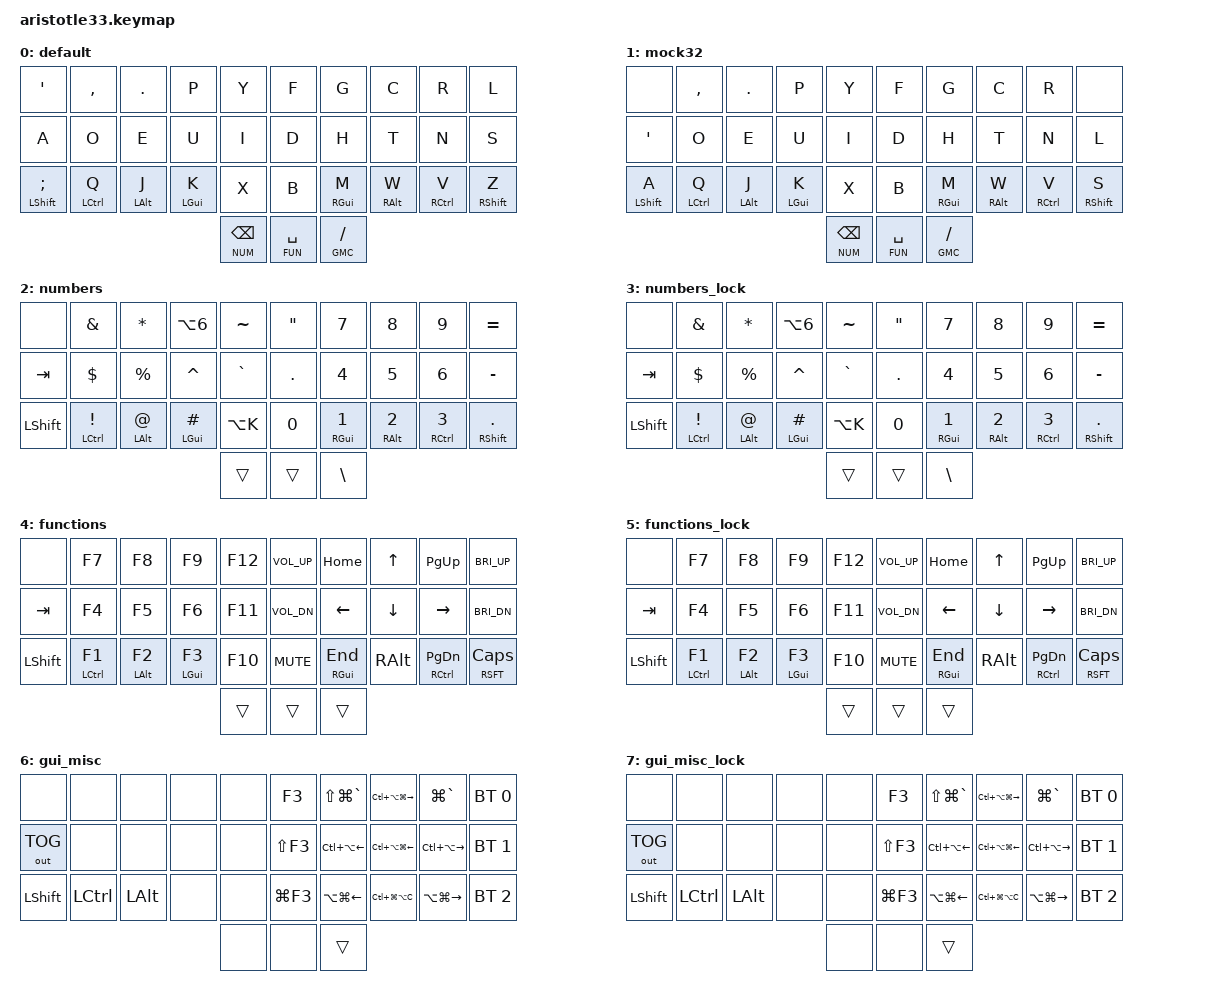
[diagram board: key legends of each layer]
// ================ COPYRIGHT AND INCLUDES ================== {{{1
// Copyright (c) 2021 Bennett Helm
// SPDX-License-Identifier: MIT

#include <behaviors.dtsi>
#include <dt-bindings/zmk/keys.h>
#include <dt-bindings/zmk/bt.h>
#include <dt-bindings/zmk/outputs.h>

// }}}
// ====================== SHORTHANDS ======================== {{{1
// These are shorthand references to keep things simple and tidy in the keymap
// below.

// Layer Names: Default, Numbers, Functions, GUI/Misc
#define DEF 0
#define M32 1
#define NUM 2
#define NLK 3
#define FUN 4
#define FLK 5
#define GMC 6
#define GLK 7

// WINxxxx defines are for shortcuts with Rectangle.app to manipulate windows
#define WIN_LFT &kp LA(LG(LEFT))
#define WIN_RGT &kp LA(LG(RIGHT))
#define WIN_BIG &kp LC(LA(LG(RIGHT)))
#define WIN_SML &kp LC(LA(LG(LEFT)))
#define WIN_NXT &kp LG(GRAVE)
#define WIN_PRV &kp LS(LG(GRAVE))
#define WIN3LFT &kp LC(LA(LEFT))
#define WIN3RGT &kp LC(LA(RIGHT))
#define WIN_CNT &kp LC(LG(LA(C)))

// Bottom Row Mods
// Dvorak
#define LSFT_SC     &mf LEFT_SHIFT SEMICOLON
#define LCTL_Q      &ms LEFT_CONTROL Q
#define LALT_J      &ms LEFT_ALT J
#define LGUI_K      &ms LEFT_GUI K
#define RGUI_M      &ms RIGHT_GUI M
#define RALT_W      &ms RIGHT_ALT W
#define RCTL_V      &ms RIGHT_CONTROL V
#define RSFT_Z      &mf RIGHT_SHIFT Z
// For Mock-32 layer
#define LSFT_A      &mf LEFT_SHIFT A
#define RSFT_S      &mf RIGHT_SHIFT S
// Number
// #define LSFT_TAB    &ms LEFT_SHIFT TAB
#define LCTL_EXCL   &ms LEFT_CONTROL EXCLAMATION
#define LALT_AT     &ms LEFT_ALT AT_SIGN
#define LGUI_HASH   &ms LEFT_GUI HASH
#define RGUI_N1     &ms RIGHT_GUI N1
#define RALT_N2     &ms RIGHT_ALT N2
#define RCTL_N3     &ms RIGHT_CONTROL N3
#define RSFT_DOT    &mf RIGHT_SHIFT DOT
// Function
#define LCTRL_F1    &ms LCTRL F1
#define LALT_F2     &ms LALT F2
#define LGUI_F3     &ms LGUI F3
#define RGUI_END    &ms RGUI END
// #define RALT_DWN    &ms RALT DOWN
#define RCTL_PDN    &ms RCTRL PG_DN
#define RSFT_CAPS   &mf RSFT CAPS

// Other
#define BTLDR &bootloader

// }}}
// ==================== OTHER SETTINGS ====================== {{{1
/* // Set options for mod-tap behavior */
&mt {
    tapping-term-ms = <170>;
    quick-tap-ms = <170>;
    flavor = "tap-preferred";
};
// Set options for layer-tap behavior
&lt {
    tapping-term-ms = <220>; // was 200 -- too fast (without tap-preferred)
    // 200: getting some <spaces> *after* subsequently hit keys.
    // 150 was too quick: failed to get <spaces> when desired
    // 175: getting some missed taps, as well as some arrow keys instead of space-char
    // 250 was pretty wonky: getting too many taps when trying to hold
    /* quick-tap-ms = <200>; */
    flavor = "tap-preferred";
};
// }}}

/ {
// ======================= BEHAVIORS ======================== {{{1
    behaviors {
        mf: modtap_fast {
            compatible = "zmk,behavior-hold-tap";
            label = "MODTAP_FAST";
            #binding-cells = <2>;
            tapping-term-ms = <170>;  // 160 is too fast
            // 180 might be too slow
            // quick-tap-ms = <250>;
            flavor = "tap-preferred";
            // retro-tap;
            bindings = <&kp>, <&kp>;
        };
        ms: modtap_slow {
            compatible = "zmk,behavior-hold-tap";
            label = "MODTAP_SLOW";
            #binding-cells = <2>;
            tapping-term-ms = <215>;  // 210 is too fast
            // 225 seems pretty good, though I want to push it down somewhat
            // quick-tap-ms = <225>;
            flavor = "tap-preferred";
            // retro-tap;
            bindings = <&kp>, <&kp>;
        };
        /* lht: left_positional_hold_tap {  // hold left hand key, only apply mod to keys on right */
        /*     compatible = "zmk,behavior-hold-tap"; */
        /*     label = "LEFT_POSITIONAL_HOLD_TAP"; */
        /*     #binding-cells = <2>; */
        /*     flavor = "hold-preferred"; */
        /*     tapping-term-ms = <400>; */
        /*     quick-tap-ms = <200>; */
        /*     bindings = <&kp>, <&kp>; */
        /*     hold-trigger-key-positions = <5>, <6>, <7>, <8>, <9>, <15>, <16>, <17>, <18>, <19>, <25>, <26>, <27>, <28>, <29>, <31>, <32>; */
        /* }; */
        /* rht: right_positional_hold_tap {  // hold right hand key, only apply mod to keys on left */
        /*     compatible = "zmk,behavior-hold-tap"; */
        /*     label = "RIGHT_POSITIONAL_HOLD_TAP"; */
        /*     #binding-cells = <2>; */
        /*     flavor = "hold-preferred"; */
        /*     tapping-term-ms = <400>; */
        /*     quick-tap-ms = <200>; */
        /*     bindings = <&kp>, <&kp>; */
        /*     hold-trigger-key-positions = <0>, <1>, <2>, <3>, <4>, <10>, <11>, <12>, <13>, <14>, <20>, <21>, <22>, <23>, <24>, <30>; */
        /* }; */
    };
// }}}

// ========================= COMBOS ========================= {{{1
    combos {
        compatible = "zmk,combos";
        combo_lbrace {
            timeout-ms = <40>;
            key-positions = <1 11>;
            bindings = <&kp LEFT_BRACE>;
            layers = <DEF M32 NUM NLK>;
        };
        combo_esc {
            timeout-ms = <40>;
            key-positions = <2 12>;
            bindings = <&kp ESC>;
            layers = <DEF M32 NUM NLK FUN FLK>;
        };
        combo_asterisk {
            timeout-ms = <40>;
            key-positions = <3 13>;
            bindings = <&kp ASTRK>;
            layers = <DEF M32 NUM NLK>;
        };
        combo_doublequote {
            timeout-ms = <40>;
            key-positions = <6 16>;
            bindings = <&kp DQT>;
            layers = <DEF M32 NUM NLK>;
        };
        combo_return {
            timeout-ms = <40>;
            key-positions = <7 17>;
            bindings = <&kp ENTER>;
            layers = <DEF M32 NUM NLK FUN FLK GMC GLK>;
        };
        combo_rbrace {
            timeout-ms = <40>;
            key-positions = <8 18>;
            bindings = <&kp RIGHT_BRACE>;
            layers = <DEF M32 NUM NLK>;
        };
        combo_lbracket {
            timeout-ms = <40>;
            key-positions = <11 21>;
            bindings = <&kp LEFT_BRACKET>;
            layers = <DEF M32 NUM NLK>;
        };
        combo_tab {
            timeout-ms = <40>;
            key-positions = <12 22>;
            bindings = <&kp TAB>;
            layers = <DEF M32 NUM NLK>;
        };
        combo_lparen {
            timeout-ms = <40>;
            key-positions = <13 23>;
            bindings = <&kp LPAR>;
            layers = <DEF M32 NUM NLK>;
        };
        combo_rparen {
            timeout-ms = <40>;
            key-positions = <16 26>;
            bindings = <&kp RPAR>;
            layers = <DEF M32 NUM NLK>;
        };
        combo_colon {
            timeout-ms = <40>;
            key-positions = <17 27>;
            bindings = <&kp COLON>;
            layers = <DEF M32 NUM NLK>;
        };
        combo_rbracket {
            timeout-ms = <40>;
            key-positions = <18 28>;
            bindings = <&kp RIGHT_BRACKET>;
            layers = <DEF M32 NUM NLK>;
        };
        combo_minus {
            timeout-ms = <40>;
            key-positions = <19 29>;
            bindings = <&kp MINUS>;
            layers = <DEF NUM NLK>;
        };
        combo_capslock {
            timeout-ms = <50>;
            key-positions = <20 29>;
            bindings = <&kp CAPS>;
            layers = <DEF M32 NUM NLK FUN FLK>;
        };
        combo_zero {
            timeout-ms = <50>;
            key-positions = <26 27>;
            bindings = <&kp N0>;
            layers = <NUM NLK>;
        };
        combo_period {
            timeout-ms = <50>;
            key-positions = <27 28>;
            bindings = <&kp DOT>;
            layers = <NUM NLK>;
        };
        combo_NUMLock {
            timeout-ms = <30>;
            key-positions = <10 20>;
            bindings = <&tog NLK>;
            layers = <NUM NLK>;
        };
        combo_FUNLock {
            timeout-ms = <30>;
            key-positions = <10 20>;
            bindings = <&tog FLK>;
            layers = <FUN FLK>;
        };
        combo_GMCLock {
            timeout-ms = <30>;
            key-positions = <10 20>;
            bindings = <&tog GLK>;
            layers = <GMC GLK>;
        };
        combo_BTclr {
            timeout-ms = <30>;
            key-positions = <1 11>;
            bindings = <&bt BT_CLR>;
            layers = <GMC GLK>;
        };
        combo_toggleM32 {
            timeout-ms = <40>;
            key-positions = <30 31 32>;
            bindings = <&tog M32>;
            layers = <DEF M32>;
        };
        combo_toDEFLayer {
            timeout-ms = <40>;
            key-positions = <31 32>;
            bindings = <&to DEF>;
            layers = <DEF M32 NUM NLK FUN FLK GMC GLK>;
        };
        combo_semicolon {
            timeout-ms = <40>;
            key-positions = <10 20>;
            bindings = <&kp SEMICOLON>;
            layers = <M32>;
        };
        combo_Z {
            timeout-ms = <40>;
            key-positions = <19 29>;
            bindings = <&kp Z>;
            layers = <M32>;
        };
    };
// }}}

// ======================== KEYMAPS ========================= {{{1
    keymap {
        compatible = "zmk,keymap";
// ---------------------------------------------------- DVORAK -------------------------------------------------- {{{2
        default {
            bindings = <
// ╭──────────┬──────────┬──────────┬──────────┬──────────╮  ╭──────────┬──────────┬──────────┬──────────┬──────────╮
    &kp SQT    &kp COMMA  &kp DOT    &kp P      &kp Y         &kp F      &kp G      &kp C      &kp R      &kp L
// ├──────────┼──────────┼──────────┼──────────┼──────────┤  ├──────────┼──────────┼──────────┼──────────┼──────────┤
    &kp A      &kp O      &kp E      &kp U      &kp I         &kp D      &kp H      &kp T      &kp N      &kp S
// ├──────────┼──────────┼──────────┼──────────┼──────────┤  ├──────────┼──────────┼──────────┼──────────┼──────────┤
    LSFT_SC    LCTL_Q     LALT_J     LGUI_K     &kp X         &kp B      RGUI_M     RALT_W     RCTL_V     RSFT_Z
// ╰──────────┴──────────┴──────────┴────────┼────────────┤  ├──────────┴──┬───────┴────┬─────┴──────────┴──────────╯
                                              &lt NUM BSPC    &lt FUN SPACE &lt GMC FSLH
//                                           ╰────────────╯  ╰─────────────┴────────────╯
            >;
      };  // }}}
//  ---------------------------------------------------- MOCK 32 ------------------------------------------------ {{{2
        mock32 {
            bindings = <
// ╭──────────┬──────────┬──────────┬──────────┬──────────╮  ╭──────────┬──────────┬──────────┬──────────┬──────────╮
    &none      &kp COMMA  &kp DOT    &kp P      &kp Y         &kp F      &kp G      &kp C      &kp R      &none
// ├──────────┼──────────┼──────────┼──────────┼──────────┤  ├──────────┼──────────┼──────────┼──────────┼──────────┤
    &kp SQT    &kp O      &kp E      &kp U      &kp I         &kp D      &kp H      &kp T      &kp N      &kp L
// ├──────────┼──────────┼──────────┼──────────┼──────────┤  ├──────────┼──────────┼──────────┼──────────┼──────────┤
    LSFT_A     LCTL_Q     LALT_J     LGUI_K     &kp X         &kp B      RGUI_M     RALT_W     RCTL_V     RSFT_S
// ╰──────────┴──────────┴──────────┴────────┼────────────┤  ├──────────┴──┬────────┴───┬─────┴──────────┴──────────╯
                                              &lt NUM BSPC    &lt FUN SPACE &lt GMC FSLH
//                                           ╰────────────╯  ╰─────────────┴────────────╯
            >;
      };  // }}}
//  ---------------------------------------------------- NUMBERS ------------------------------------------------ {{{2
        numbers {
            bindings = <
// ╭──────────┬──────────┬──────────┬──────────┬──────────╮  ╭──────────┬──────────┬──────────┬──────────┬──────────╮
    &none      &kp AMPS   &kp ASTRK  &kp LA(N6) &kp TILDE     &kp DQT    &kp N7     &kp N8     &kp N9     &kp EQUAL
// ├──────────┼──────────┼──────────┼──────────┼──────────┤  ├──────────┼──────────┼──────────┼──────────┼──────────┤
    &kp TAB    &kp DLLR   &kp PRCNT  &kp CARET  &kp GRAVE     &kp DOT    &kp N4     &kp N5     &kp N6     &kp MINUS
// ├──────────┼──────────┼──────────┼──────────┼──────────┤  ├──────────┼──────────┼──────────┼──────────┼──────────┤
    &kp LSHIFT LCTL_EXCL  LALT_AT    LGUI_HASH  &kp LA(K)     &kp N0     RGUI_N1    RALT_N2    RCTL_N3    RSFT_DOT
// ╰──────────┴──────────┴──────────┴──────────┼──────────┤  ├──────────┼──────────┼──────────┴──────────┴──────────╯
                                                &trans        &trans     &kp BSLH
//                                             ╰──────────╯  ╰──────────┴──────────╯
            >;
      };  // }}}
//  ------------------------------------------------- NUMBERS LOCK ---------------------------------------------- {{{2
// NOTE: This is exactly the same as NUMBERS
        numbers_lock {
            bindings = <
// ╭──────────┬──────────┬──────────┬──────────┬──────────╮  ╭──────────┬──────────┬──────────┬──────────┬──────────╮
    &none      &kp AMPS   &kp ASTRK  &kp LA(N6) &kp TILDE     &kp DQT    &kp N7     &kp N8     &kp N9     &kp EQUAL
// ├──────────┼──────────┼──────────┼──────────┼──────────┤  ├──────────┼──────────┼──────────┼──────────┼──────────┤
    &kp TAB    &kp DLLR   &kp PRCNT  &kp CARET  &kp GRAVE     &kp DOT    &kp N4     &kp N5     &kp N6     &kp MINUS
// ├──────────┼──────────┼──────────┼──────────┼──────────┤  ├──────────┼──────────┼──────────┼──────────┼──────────┤
    &kp LSHIFT LCTL_EXCL  LALT_AT    LGUI_HASH  &kp LA(K)     &kp N0     RGUI_N1    RALT_N2    RCTL_N3    RSFT_DOT
// ╰──────────┴──────────┴──────────┴──────────┼──────────┤  ├──────────┼──────────┼──────────┴──────────┴──────────╯
                                                &trans        &trans     &kp BSLH
//                                             ╰──────────╯  ╰──────────┴──────────╯
            >;
      };  // }}}
// ---------------------------------------------------- FUNCTIONS ----------------------------------------------- {{{2
        functions {
            bindings = <
// ╭──────────┬──────────┬──────────┬──────────┬──────────╮  ╭──────────┬──────────┬──────────┬──────────┬──────────╮
    &none      &kp F7     &kp F8     &kp F9     &kp F12      &kp C_VOL_UP &kp HOME  &kp UP     &kp PG_UP &kp C_BRI_UP
// ├──────────┼──────────┼──────────┼──────────┼──────────┤  ├──────────┼──────────┼──────────┼──────────┼──────────┤
    &kp TAB    &kp F4     &kp F5     &kp F6     &kp F11      &kp C_VOL_DN &kp LEFT  &kp DOWN   &kp RIGHT &kp C_BRI_DN
// ├──────────┼──────────┼──────────┼──────────┼──────────┤  ├──────────┼──────────┼──────────┼──────────┼──────────┤
    &kp LSHIFT LCTRL_F1   LALT_F2    LGUI_F3    &kp F10      &kp C_MUTE   RGUI_END  &kp RALT   RCTL_PDN   RSFT_CAPS
// ╰──────────┴──────────┴──────────┴──────────┼──────────┤  ├──────────┼──────────┼──────────┴──────────┴──────────╯
                                                &trans        &trans     &trans
//                                             ╰──────────╯  ╰──────────┴──────────╯
            >;
      };  // }}}
// ------------------------------------------------- FUNCTIONS LOCK --------------------------------------------- {{{2
// NOTE: This is exactly the same as FUNCTIONS
        functions_lock {
            bindings = <
// ╭──────────┬──────────┬──────────┬──────────┬──────────╮  ╭──────────┬──────────┬──────────┬──────────┬──────────╮
    &none      &kp F7     &kp F8     &kp F9     &kp F12      &kp C_VOL_UP &kp HOME  &kp UP     &kp PG_UP &kp C_BRI_UP
// ├──────────┼──────────┼──────────┼──────────┼──────────┤  ├──────────┼──────────┼──────────┼──────────┼──────────┤
    &kp TAB    &kp F4     &kp F5     &kp F6     &kp F11      &kp C_VOL_DN &kp LEFT  &kp DOWN   &kp RIGHT &kp C_BRI_DN
// ├──────────┼──────────┼──────────┼──────────┼──────────┤  ├──────────┼──────────┼──────────┼──────────┼──────────┤
    &kp LSHIFT LCTRL_F1   LALT_F2    LGUI_F3    &kp F10      &kp C_MUTE   RGUI_END  &kp RALT   RCTL_PDN   RSFT_CAPS
// ╰──────────┴──────────┴──────────┴──────────┼──────────┤  ├──────────┼──────────┼──────────┴──────────┴──────────╯
                                                &trans        &trans     &trans
//                                             ╰──────────╯  ╰──────────┴──────────╯
            >;
      };  // }}}
// ---------------------------------------------------- GUI/MISC ------------------------------------------------ {{{2
// |BT<>USB|       |  M Up | Whl Up|  Accl2|     |   F3  | PrvWin| WinBig| NxtWin| BT #1 |
// |       |  M Lft|  M Dn |  M Rgt|  Accl1|     | Sft-F3|  Win3L|  WinSm|  Win3R| BT #2 |
// |  SHFT |  CTRL |       | Whl Dn|  Accl0|     | Cmd-F3| WinLft| WinCen| WinRgt| BT #3 |
//                                 | LftBtn|     | RgtBtn|  ---- |
//
        gui_misc {
            bindings = <
// ╭──────────┬──────────┬──────────┬──────────┬──────────╮  ╭──────────┬──────────┬──────────┬──────────┬──────────╮
    &none      &none      &none      &none      &none         &kp F3     WIN_PRV    WIN_BIG    WIN_NXT   &bt BT_SEL 0
// ├──────────┼──────────┼──────────┼──────────┼──────────┤  ├──────────┼──────────┼──────────┼──────────┼──────────┤
   &out OUT_TOG &none     &none      &none      &none         &kp LS(F3) WIN3LFT    WIN_SML    WIN3RGT   &bt BT_SEL 1
// ├──────────┼──────────┼──────────┼──────────┼──────────┤  ├──────────┼──────────┼──────────┼──────────┼──────────┤
    &kp LSHIFT &kp LCTRL  &kp LALT   &none      &none         &kp LG(F3) WIN_LFT    WIN_CNT    WIN_RGT   &bt BT_SEL 2
// ╰──────────┴──────────┴──────────┴──────────┼──────────┤  ├──────────┼──────────┼──────────┴──────────┴──────────╯
                                                &none         &none      &trans
//                                             ╰──────────╯  ╰──────────┴──────────╯
             >;
      };  // }}}
// ------------------------------------------------- GUI/MISC LOCK ---------------------------------------------- {{{2
// |BT<>USB|       |  M Up | Whl Up|  Accl2|     |   F3  | PrvWin| WinBig| NxtWin| BT #1 |
// |       |  M Lft|  M Dn |  M Rgt|  Accl1|     | Sft-F3|  Win3L|  WinSm|  Win3R| BT #2 |
// |  SHFT |  CTRL |       | Whl Dn|  Accl0|     | Cmd-F3| WinLft| WinCen| WinRgt| BT #3 |
//                                 | LftBtn|     | RgtBtn|  ---- |
//
// NOTE: This is exactly the same as GUI/MISC
        gui_misc_lock {
            bindings = <
// ╭──────────┬──────────┬──────────┬──────────┬──────────╮  ╭──────────┬──────────┬──────────┬──────────┬──────────╮
    &none      &none      &none      &none      &none         &kp F3     WIN_PRV    WIN_BIG    WIN_NXT   &bt BT_SEL 0
// ├──────────┼──────────┼──────────┼──────────┼──────────┤  ├──────────┼──────────┼──────────┼──────────┼──────────┤
   &out OUT_TOG &none     &none      &none      &none         &kp LS(F3) WIN3LFT    WIN_SML    WIN3RGT   &bt BT_SEL 1
// ├──────────┼──────────┼──────────┼──────────┼──────────┤  ├──────────┼──────────┼──────────┼──────────┼──────────┤
    &kp LSHIFT &kp LCTRL  &kp LALT   &none      &none         &kp LG(F3) WIN_LFT    WIN_CNT    WIN_RGT   &bt BT_SEL 2
// ╰──────────┴──────────┴──────────┴──────────┼──────────┤  ├──────────┼──────────┼──────────┴──────────┴──────────╯
                                                &none         &none      &trans
//                                             ╰──────────╯  ╰──────────┴──────────╯
             >;
      }; // }}}
  };  // keymap }}}
};

// vim: fdm=marker ft=c
